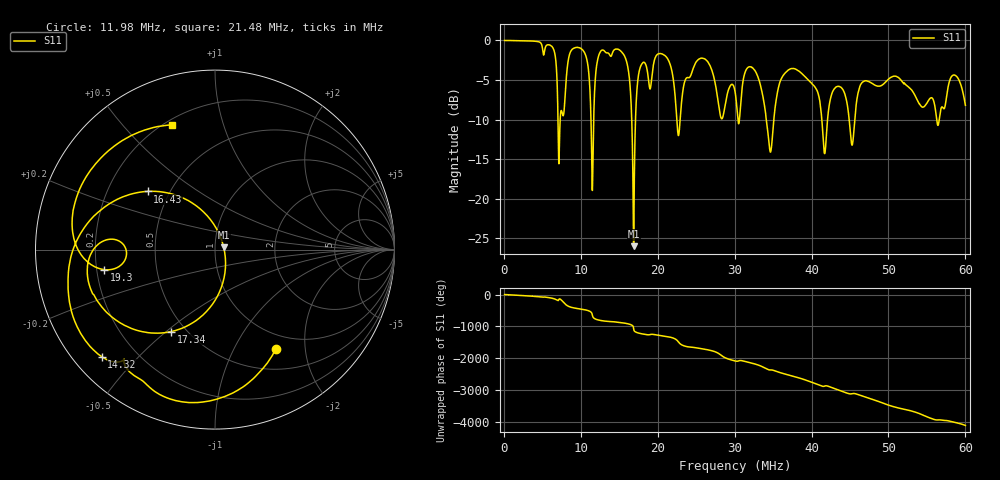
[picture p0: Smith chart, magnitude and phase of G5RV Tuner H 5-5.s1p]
# Hz S RI R 50
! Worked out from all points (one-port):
!   3030 points, 100 kHz to 60 MHz, reference 50 ohm
!   lowest |S11| = -26.0 dB at 16.87 MHz (marker M1), VSWR 1.11, Z = 55.1 + j1.48 ohm
!   |S11| at or under -10 dB: 34.11 MHz to 35.1 MHz (984.3 kHz wide, 2.84 % of centre); 41.34 MHz to 42.08 MHz (742.4 kHz wide, 1.78 % of centre); 44.89 MHz to 45.62 MHz (726.2 kHz wide, 1.6 % of centre)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
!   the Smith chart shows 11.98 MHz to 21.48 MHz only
!   S11 on the Smith chart (normalised r, x): 11.98 MHz: 0.79, -1.49; 14.32 MHz: 0.08, -0.40; 16.43 MHz: 0.38, +0.32; 17.34 MHz: 0.42, -0.52; 19.3 MHz: 0.23, -0.08; 21.48 MHz: 0.23, +0.69
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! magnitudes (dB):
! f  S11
! 100 kHz  0.0
! 6.23 MHz  -0.7
! 7.595 MHz  -9.2
! 8.583 MHz  -1.6
! 10.01 MHz  -1.0
! 11.51 MHz  -19.0
! 11.98 MHz  -3.8
! 14.32 MHz  -1.2
! 15.09 MHz  -1.3
! 16.43 MHz  -6.1
! 16.87 MHz  -26.0
! 17.34 MHz  -5.7
! 19.3 MHz  -4.1
! 21.48 MHz  -2.7
! 22.56 MHz  -11.1
! 25.47 MHz  -2.3
! 28.28 MHz  -9.9
! 30.06 MHz  -6.5
! 32.59 MHz  -3.7
! 34.65 MHz  -14.1
! 37.55 MHz  -3.5
! 40.68 MHz  -6.3
! 41.69 MHz  -14.3
! 43.27 MHz  -5.8
! 45.03 MHz  -11.5
! 46.71 MHz  -5.2
! 52.52 MHz  -5.8
! 60 MHz  -8.2
